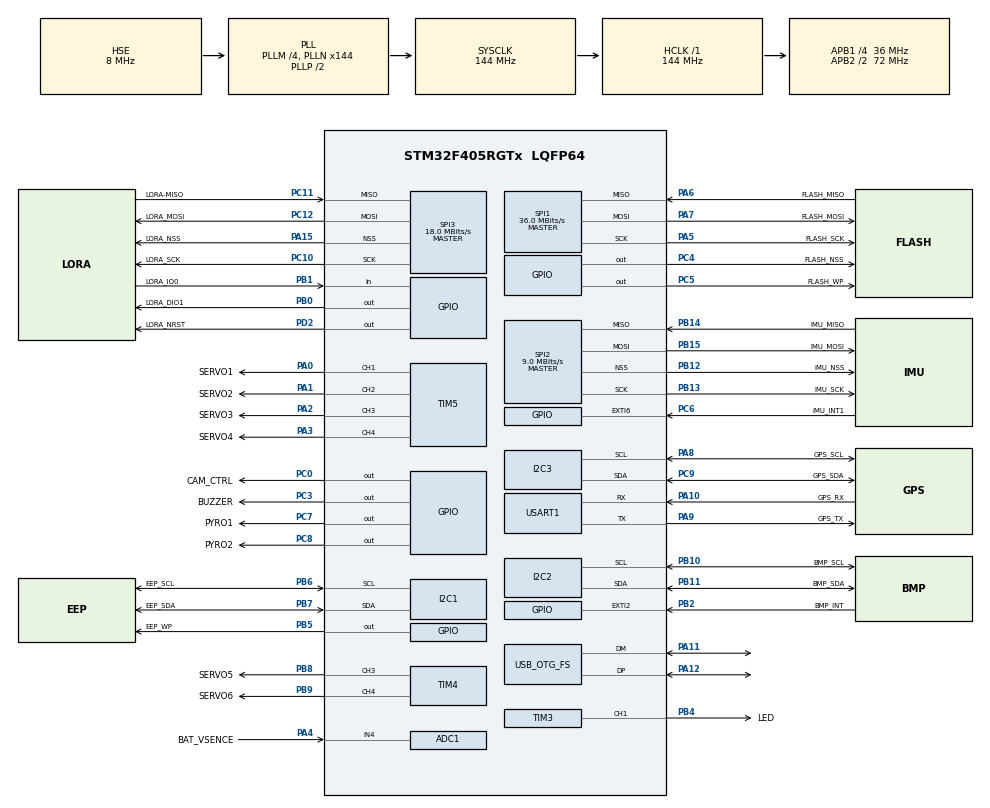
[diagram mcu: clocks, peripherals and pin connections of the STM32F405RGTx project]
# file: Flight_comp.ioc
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ADC1.Channel-0\#ChannelRegularConversion=ADC_CHANNEL_4
ADC1.NbrOfConversionFlag=1
ADC1.Rank-0\#ChannelRegularConversion=1
ADC1.SamplingTime-0\#ChannelRegularConversion=ADC_SAMPLETIME_3CYCLES
ADC1.master=1
Dma.Request0=TIM3_CH1/TRIG
Dma.TIM3_CH1/TRIG.0.Direction=DMA_MEMORY_TO_PERIPH
Dma.TIM3_CH1/TRIG.0.FIFOMode=DMA_FIFOMODE_DISABLE
Dma.TIM3_CH1/TRIG.0.Instance=DMA1_Stream4
Dma.TIM3_CH1/TRIG.0.MemDataAlignment=DMA_MDATAALIGN_WORD
Dma.TIM3_CH1/TRIG.0.MemInc=DMA_MINC_ENABLE
Dma.TIM3_CH1/TRIG.0.Mode=DMA_NORMAL
Dma.TIM3_CH1/TRIG.0.PeriphDataAlignment=DMA_PDATAALIGN_WORD
Dma.TIM3_CH1/TRIG.0.PeriphInc=DMA_PINC_DISABLE
Dma.TIM3_CH1/TRIG.0.Priority=DMA_PRIORITY_VERY_HIGH
I2C1.I2C_Mode=I2C_Fast
I2C2.I2C_Mode=I2C_Fast
Mcu.Family=STM32F4
Mcu.Name=STM32F405RGTx
Mcu.Package=LQFP64
NVIC.DMA1_Stream4_IRQn=true\:0\:0\:false\:false\:true\:false\:true\:true
NVIC.OTG_FS_IRQn=true\:0\:0\:false\:false\:true\:false\:true\:true
NVIC.PriorityGroup=NVIC_PRIORITYGROUP_4
PA0-WKUP.GPIO_Label=SERVO1
PA0-WKUP.Signal=S_TIM5_CH1
PA1.GPIO_Label=SERVO2
PA1.Signal=S_TIM5_CH2
PA10.GPIO_Label=GPS_RX
PA10.Mode=Asynchronous
PA10.Signal=USART1_RX
PA11.Mode=Device_Only
PA11.Signal=USB_OTG_FS_DM
PA12.Mode=Device_Only
PA12.Signal=USB_OTG_FS_DP
PA13.Mode=Trace_Asynchronous_SW
PA13.Signal=SYS_JTMS-SWDIO
PA14.Mode=Trace_Asynchronous_SW
PA14.Signal=SYS_JTCK-SWCLK
PA15.GPIO_Label=LORA_NSS
PA15.Mode=NSS_Signal_Hard_Output
PA15.Signal=SPI3_NSS
PA2.GPIO_Label=SERVO3
PA2.Signal=S_TIM5_CH3
PA3.GPIO_Label=SERVO4
PA3.Signal=S_TIM5_CH4
PA4.GPIO_Label=BAT_VSENCE
PA4.Signal=ADCx_IN4
PA5.GPIO_Label=FLASH_SCK
PA5.Mode=Full_Duplex_Master
PA5.Signal=SPI1_SCK
PA6.GPIO_Label=FLASH_MISO
PA6.Mode=Full_Duplex_Master
PA6.Signal=SPI1_MISO
PA7.GPIO_Label=FLASH_MOSI
PA7.Mode=Full_Duplex_Master
PA7.Signal=SPI1_MOSI
PA8.GPIO_Label=GPS_SCL
PA8.GPIO_Pu=GPIO_PULLUP
PA8.Mode=I2C
PA8.Signal=I2C3_SCL
PA9.GPIO_Label=GPS_TX
PA9.Mode=Asynchronous
PA9.Signal=USART1_TX
PB0.GPIO_Label=LORA_DIO1
PB0.Signal=GPIO_Output
PB1.GPIO_Label=LORA_IO0
PB1.Signal=GPIO_Input
PB10.GPIO_Label=BMP_SCL
PB10.GPIO_Pu=GPIO_PULLUP
PB10.Mode=I2C
PB10.Signal=I2C2_SCL
PB11.GPIO_Label=BMP_SDA
PB11.GPIO_Pu=GPIO_PULLUP
PB11.Mode=I2C
PB11.Signal=I2C2_SDA
PB12.GPIO_Label=IMU_NSS
PB12.Mode=NSS_Signal_Hard_Output
PB12.Signal=SPI2_NSS
PB13.GPIO_Label=IMU_SCK
PB13.Mode=Full_Duplex_Master
PB13.Signal=SPI2_SCK
PB14.GPIO_Label=IMU_MISO
PB14.Mode=Full_Duplex_Master
PB14.Signal=SPI2_MISO
PB15.GPIO_Label=IMU_MOSI
PB15.Mode=Full_Duplex_Master
PB15.Signal=SPI2_MOSI
PB2.GPIO_Label=BMP_INT
PB2.Signal=GPXTI2
PB3.Mode=Trace_Asynchronous_SW
PB3.Signal=SYS_JTDO-SWO
PB4.GPIO_Label=LED
PB4.Signal=S_TIM3_CH1
PB5.GPIO_Label=EEP_WP
PB5.Signal=GPIO_Output
PB6.GPIO_Label=EEP_SCL
PB6.GPIO_Pu=GPIO_PULLUP
PB6.Mode=I2C
PB6.Signal=I2C1_SCL
PB7.GPIO_Label=EEP_SDA
PB7.GPIO_Pu=GPIO_PULLUP
PB7.Mode=I2C
PB7.Signal=I2C1_SDA
PB8.GPIO_Label=SERVO5
PB8.Signal=S_TIM4_CH3
PB9.GPIO_Label=SERVO6
PB9.Signal=S_TIM4_CH4
PC0.GPIO_Label=CAM_CTRL
PC0.Signal=GPIO_Output
PC10.GPIO_Label=LORA_SCK
PC10.Mode=Full_Duplex_Master
PC10.Signal=SPI3_SCK
PC11.GPIO_Label=LORA-MISO
PC11.Mode=Full_Duplex_Master
PC11.Signal=SPI3_MISO
PC12.GPIO_Label=LORA_MOSI
PC12.Mode=Full_Duplex_Master
PC12.Signal=SPI3_MOSI
PC14-OSC32_IN.Mode=LSE-External-Oscillator
PC14-OSC32_IN.Signal=RCC_OSC32_IN
PC15-OSC32_OUT.Mode=LSE-External-Oscillator
PC15-OSC32_OUT.Signal=RCC_OSC32_OUT
PC3.GPIO_Label=BUZZER
PC3.Signal=GPIO_Output
PC4.GPIO_Label=FLASH_NSS
PC4.GPIO_Speed=GPIO_SPEED_FREQ_VERY_HIGH
PC4.PinState=GPIO_PIN_SET
PC4.Signal=GPIO_Output
PC5.GPIO_Label=FLASH_WP
PC5.GPIO_Speed=GPIO_SPEED_FREQ_VERY_HIGH
PC5.PinState=GPIO_PIN_SET
PC5.Signal=GPIO_Output
PC6.GPIO_Label=IMU_INT1
PC6.Signal=GPXTI6
PC7.GPIO_Label=PYRO1
PC7.Signal=GPIO_Output
PC8.GPIO_Label=PYRO2
PC8.Signal=GPIO_Output
PC9.GPIO_Label=GPS_SDA
PC9.GPIO_Pu=GPIO_PULLUP
PC9.Mode=I2C
PC9.Signal=I2C3_SDA
PD2.GPIO_Label=LORA_NRST
PD2.Signal=GPIO_Output
PH0-OSC_IN.Mode=HSE-External-Oscillator
PH0-OSC_IN.Signal=RCC_OSC_IN
PH1-OSC_OUT.Mode=HSE-External-Oscillator
PH1-OSC_OUT.Signal=RCC_OSC_OUT
ProjectManager.HeapSize=0x200
ProjectManager.StackSize=0x400
ProjectManager.TargetToolchain=Makefile
RCC.48MHZClocksFreq_Value=48000000
RCC.AHBFreq_Value=144000000
RCC.APB1CLKDivider=RCC_HCLK_DIV4
RCC.APB1Freq_Value=36000000
RCC.APB1TimFreq_Value=72000000
RCC.APB2CLKDivider=RCC_HCLK_DIV2
RCC.APB2Freq_Value=72000000
RCC.APB2TimFreq_Value=144000000
RCC.CortexFreq_Value=144000000
RCC.HCLKFreq_Value=144000000
RCC.HSE_VALUE=8000000
RCC.HSI_VALUE=16000000
RCC.PLLM=4
RCC.PLLN=144
RCC.PLLQ=6
RCC.SYSCLKFreq_VALUE=144000000
RCC.SYSCLKSource=RCC_SYSCLKSOURCE_PLLCLK
RCC.VCOOutputFreq_Value=288000000
SH.ADCx_IN4.0=ADC1_IN4,IN4
SH.S_TIM3_CH1.0=TIM3_CH1,PWM Generation1 CH1
SH.S_TIM4_CH3.0=TIM4_CH3,PWM Generation3 CH3
SH.S_TIM4_CH4.0=TIM4_CH4,PWM Generation4 CH4
SH.S_TIM5_CH1.0=TIM5_CH1,PWM Generation1 CH1
SH.S_TIM5_CH2.0=TIM5_CH2,PWM Generation2 CH2
SH.S_TIM5_CH3.0=TIM5_CH3,PWM Generation3 CH3
SH.S_TIM5_CH4.0=TIM5_CH4,Output Compare4 CH4
SPI1.CalculateBaudRate=36.0 MBits/s
SPI1.Direction=SPI_DIRECTION_2LINES
SPI1.Mode=SPI_MODE_MASTER
SPI1.VirtualType=VM_MASTER
SPI2.BaudRatePrescaler=SPI_BAUDRATEPRESCALER_4
SPI2.CalculateBaudRate=9.0 MBits/s
SPI2.Direction=SPI_DIRECTION_2LINES
SPI2.Mode=SPI_MODE_MASTER
SPI2.VirtualNSS=VM_NSSHARD
SPI2.VirtualType=VM_MASTER
SPI3.CalculateBaudRate=18.0 MBits/s
SPI3.Direction=SPI_DIRECTION_2LINES
SPI3.Mode=SPI_MODE_MASTER
SPI3.VirtualNSS=VM_NSSHARD
SPI3.VirtualType=VM_MASTER
TIM3.Channel-PWM\ Generation1\ CH1=TIM_CHANNEL_1
TIM3.Period=90-1
TIM4.Channel-PWM\ Generation3\ CH3=TIM_CHANNEL_3
TIM4.Channel-PWM\ Generation4\ CH4=TIM_CHANNEL_4
TIM5.Channel-Output\ Compare4\ CH4=TIM_CHANNEL_4
TIM5.Channel-PWM\ Generation1\ CH1=TIM_CHANNEL_1
TIM5.Channel-PWM\ Generation2\ CH2=TIM_CHANNEL_2
TIM5.Channel-PWM\ Generation3\ CH3=TIM_CHANNEL_3
USART1.VirtualMode=VM_ASYNC
USB_DEVICE.CLASS_NAME_FS=MSC
USB_DEVICE.VirtualMode-MSC_FS=Msc
USB_DEVICE.VirtualModeFS=Msc_FS
USB_OTG_FS.VirtualMode=Device_Only
VP_CRC_VS_CRC.Mode=CRC_Activate
VP_RTC_VS_RTC_Activate.Mode=RTC_Enabled
VP_TIM3_VS_ClockSourceINT.Mode=Internal
VP_TIM4_VS_ClockSourceINT.Mode=Internal
VP_TIM5_VS_ClockSourceINT.Mode=Internal
VP_USB_DEVICE_VS_USB_DEVICE_MSC_FS.Mode=MSC_FS
board=custom

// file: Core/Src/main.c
/* USER CODE BEGIN Header */
/**
  ******************************************************************************
  * @file           : main.c
  * @brief          : Main program body
  ******************************************************************************
  * @attention
  *
  * Copyright (c) 2026 STMicroelectronics.
  * All rights reserved.
  *
  * This software is licensed under terms that can be found in the LICENSE file
  * in the root directory of this software component.
  * If no LICENSE file comes with this software, it is provided AS-IS.
  *
  ******************************************************************************
  */
/* USER CODE END Header */
#include "main.h"
#include "usb_device.h"

/* USER CODE BEGIN Includes */
#include "25flash.h"
#include "neopixel.h"
#include "buzzer.h"
#include "lsm6dso.h"
#include "BMP388.h"
#include "ee24.h"
#include "servo.h"
#include "GNSS.h"
#include "SX1262.h"
/* USER CODE END Includes */

/* USER CODE BEGIN PD */
#define VBAT_DIV_K  2.54

#define LSM6DSO_I2C_ADDR (0x6A << 1)
/* USER CODE END PD */

ADC_HandleTypeDef hadc1;

CRC_HandleTypeDef hcrc;

I2C_HandleTypeDef hi2c1;
I2C_HandleTypeDef hi2c2;
I2C_HandleTypeDef hi2c3;

RTC_HandleTypeDef hrtc;

SPI_HandleTypeDef hspi1;
SPI_HandleTypeDef hspi2;
SPI_HandleTypeDef hspi3;

TIM_HandleTypeDef htim3;
TIM_HandleTypeDef htim4;
TIM_HandleTypeDef htim5;
DMA_HandleTypeDef hdma_tim3_ch1_trig;

UART_HandleTypeDef huart1;

/* USER CODE BEGIN PV */
LSM6DSO_Object_t lsm6dso1;

float battery_v;
uint32_t adc_buff[1];
/* USER CODE END PV */

void SystemClock_Config(void);
static void MX_GPIO_Init(void);
static void MX_DMA_Init(void);
static void MX_ADC1_Init(void);
static void MX_I2C1_Init(void);
static void MX_I2C2_Init(void);
static void MX_I2C3_Init(void);
static void MX_RTC_Init(void);
static void MX_SPI1_Init(void);
static void MX_SPI2_Init(void);
static void MX_SPI3_Init(void);
static void MX_TIM3_Init(void);
static void MX_TIM4_Init(void);
static void MX_TIM5_Init(void);
static void MX_USART1_UART_Init(void);
static void MX_CRC_Init(void);

int main(void)
{

  /* MCU Configuration--------------------------------------------------------*/

  /* Reset of all peripherals, Initializes the Flash interface and the Systick. */
  HAL_Init();

  /* Configure the system clock */
  SystemClock_Config();

  /* Initialize all configured peripherals */
  MX_GPIO_Init();
  MX_DMA_Init();
  MX_ADC1_Init();
  MX_I2C1_Init();
  MX_I2C2_Init();
  MX_I2C3_Init();
  MX_RTC_Init();
  MX_SPI1_Init();
  MX_SPI2_Init();
  MX_SPI3_Init();
  MX_TIM3_Init();
  MX_TIM4_Init();
  MX_TIM5_Init();
  MX_USART1_UART_Init();
  MX_USB_DEVICE_Init();
  MX_CRC_Init();
  /* USER CODE BEGIN 2 */
  LSM6DSO_Init(&lsm6dso1);
  /* USER CODE END 2 */

  /* Infinite loop */
  while (1)
  {

  }
}

void SystemClock_Config(void)
{
  RCC_OscInitTypeDef RCC_OscInitStruct = {0};
  RCC_ClkInitTypeDef RCC_ClkInitStruct = {0};

  /** Configure the main internal regulator output voltage
  */
  __HAL_RCC_PWR_CLK_ENABLE();
  __HAL_PWR_VOLTAGESCALING_CONFIG(PWR_REGULATOR_VOLTAGE_SCALE1);

  /** Initializes the RCC Oscillators according to the specified parameters
  * in the RCC_OscInitTypeDef structure.
  */
  RCC_OscInitStruct.OscillatorType = RCC_OSCILLATORTYPE_LSI|RCC_OSCILLATORTYPE_HSE;
  RCC_OscInitStruct.HSEState = RCC_HSE_ON;
  RCC_OscInitStruct.LSIState = RCC_LSI_ON;
  RCC_OscInitStruct.PLL.PLLState = RCC_PLL_ON;
  RCC_OscInitStruct.PLL.PLLSource = RCC_PLLSOURCE_HSE;
  RCC_OscInitStruct.PLL.PLLM = 4;
  RCC_OscInitStruct.PLL.PLLN = 144;
  RCC_OscInitStruct.PLL.PLLP = RCC_PLLP_DIV2;
  RCC_OscInitStruct.PLL.PLLQ = 6;
  if (HAL_RCC_OscConfig(&RCC_OscInitStruct) != HAL_OK)
  {
    Error_Handler();
  }

  /** Initializes the CPU, AHB and APB buses clocks
  */
  RCC_ClkInitStruct.ClockType = RCC_CLOCKTYPE_HCLK|RCC_CLOCKTYPE_SYSCLK
                              |RCC_CLOCKTYPE_PCLK1|RCC_CLOCKTYPE_PCLK2;
  RCC_ClkInitStruct.SYSCLKSource = RCC_SYSCLKSOURCE_PLLCLK;
  RCC_ClkInitStruct.AHBCLKDivider = RCC_SYSCLK_DIV1;
  RCC_ClkInitStruct.APB1CLKDivider = RCC_HCLK_DIV4;
  RCC_ClkInitStruct.APB2CLKDivider = RCC_HCLK_DIV2;

  if (HAL_RCC_ClockConfig(&RCC_ClkInitStruct, FLASH_LATENCY_4) != HAL_OK)
  {
    Error_Handler();
  }
}

static void MX_ADC1_Init(void)
{

  ADC_ChannelConfTypeDef sConfig = {0};

  /** Configure the global features of the ADC (Clock, Resolution, Data Alignment and number of conversion)
  */
  hadc1.Instance = ADC1;
  hadc1.Init.ClockPrescaler = ADC_CLOCK_SYNC_PCLK_DIV2;
  hadc1.Init.Resolution = ADC_RESOLUTION_12B;
  hadc1.Init.ScanConvMode = DISABLE;
  hadc1.Init.ContinuousConvMode = DISABLE;
  hadc1.Init.DiscontinuousConvMode = DISABLE;
  hadc1.Init.ExternalTrigConvEdge = ADC_EXTERNALTRIGCONVEDGE_NONE;
  hadc1.Init.ExternalTrigConv = ADC_SOFTWARE_START;
  hadc1.Init.DataAlign = ADC_DATAALIGN_RIGHT;
  hadc1.Init.NbrOfConversion = 1;
  hadc1.Init.DMAContinuousRequests = DISABLE;
  hadc1.Init.EOCSelection = ADC_EOC_SINGLE_CONV;
  if (HAL_ADC_Init(&hadc1) != HAL_OK)
  {
    Error_Handler();
  }

  /** Configure for the selected ADC regular channel its corresponding rank in the sequencer and its sample time.
  */
  sConfig.Channel = ADC_CHANNEL_4;
  sConfig.Rank = 1;
  sConfig.SamplingTime = ADC_SAMPLETIME_3CYCLES;
  if (HAL_ADC_ConfigChannel(&hadc1, &sConfig) != HAL_OK)
  {
    Error_Handler();
  }

}

static void MX_CRC_Init(void)
{

  hcrc.Instance = CRC;
  if (HAL_CRC_Init(&hcrc) != HAL_OK)
  {
    Error_Handler();
  }

}

static void MX_I2C1_Init(void)
{

  hi2c1.Instance = I2C1;
  hi2c1.Init.ClockSpeed = 400000;
  hi2c1.Init.DutyCycle = I2C_DUTYCYCLE_2;
  hi2c1.Init.OwnAddress1 = 0;
  hi2c1.Init.AddressingMode = I2C_ADDRESSINGMODE_7BIT;
  hi2c1.Init.DualAddressMode = I2C_DUALADDRESS_DISABLE;
  hi2c1.Init.OwnAddress2 = 0;
  hi2c1.Init.GeneralCallMode = I2C_GENERALCALL_DISABLE;
  hi2c1.Init.NoStretchMode = I2C_NOSTRETCH_DISABLE;
  if (HAL_I2C_Init(&hi2c1) != HAL_OK)
  {
    Error_Handler();
  }

}

static void MX_I2C2_Init(void)
{

  hi2c2.Instance = I2C2;
  hi2c2.Init.ClockSpeed = 400000;
  hi2c2.Init.DutyCycle = I2C_DUTYCYCLE_2;
  hi2c2.Init.OwnAddress1 = 0;
  hi2c2.Init.AddressingMode = I2C_ADDRESSINGMODE_7BIT;
  hi2c2.Init.DualAddressMode = I2C_DUALADDRESS_DISABLE;
  hi2c2.Init.OwnAddress2 = 0;
  hi2c2.Init.GeneralCallMode = I2C_GENERALCALL_DISABLE;
  hi2c2.Init.NoStretchMode = I2C_NOSTRETCH_DISABLE;
  if (HAL_I2C_Init(&hi2c2) != HAL_OK)
  {
    Error_Handler();
  }

}

static void MX_I2C3_Init(void)
{

  hi2c3.Instance = I2C3;
  hi2c3.Init.ClockSpeed = 100000;
  hi2c3.Init.DutyCycle = I2C_DUTYCYCLE_2;
  hi2c3.Init.OwnAddress1 = 0;
  hi2c3.Init.AddressingMode = I2C_ADDRESSINGMODE_7BIT;
  hi2c3.Init.DualAddressMode = I2C_DUALADDRESS_DISABLE;
  hi2c3.Init.OwnAddress2 = 0;
  hi2c3.Init.GeneralCallMode = I2C_GENERALCALL_DISABLE;
  hi2c3.Init.NoStretchMode = I2C_NOSTRETCH_DISABLE;
  if (HAL_I2C_Init(&hi2c3) != HAL_OK)
  {
    Error_Handler();
  }

}

static void MX_RTC_Init(void)
{

  /** Initialize RTC Only
  */
  hrtc.Instance = RTC;
  hrtc.Init.HourFormat = RTC_HOURFORMAT_24;
  hrtc.Init.AsynchPrediv = 127;
  hrtc.Init.SynchPrediv = 255;
  hrtc.Init.OutPut = RTC_OUTPUT_DISABLE;
  hrtc.Init.OutPutPolarity = RTC_OUTPUT_POLARITY_HIGH;
  hrtc.Init.OutPutType = RTC_OUTPUT_TYPE_OPENDRAIN;
  if (HAL_RTC_Init(&hrtc) != HAL_OK)
  {
    Error_Handler();
  }

}

static void MX_SPI1_Init(void)
{

  /* SPI1 parameter configuration*/
  hspi1.Instance = SPI1;
  hspi1.Init.Mode = SPI_MODE_MASTER;
  hspi1.Init.Direction = SPI_DIRECTION_2LINES;
  hspi1.Init.DataSize = SPI_DATASIZE_8BIT;
  hspi1.Init.CLKPolarity = SPI_POLARITY_LOW;
  hspi1.Init.CLKPhase = SPI_PHASE_1EDGE;
  hspi1.Init.NSS = SPI_NSS_SOFT;
  hspi1.Init.BaudRatePrescaler = SPI_BAUDRATEPRESCALER_2;
  hspi1.Init.FirstBit = SPI_FIRSTBIT_MSB;
  hspi1.Init.TIMode = SPI_TIMODE_DISABLE;
  hspi1.Init.CRCCalculation = SPI_CRCCALCULATION_DISABLE;
  hspi1.Init.CRCPolynomial = 10;
  if (HAL_SPI_Init(&hspi1) != HAL_OK)
  {
    Error_Handler();
  }

}

static void MX_SPI2_Init(void)
{

  /* SPI2 parameter configuration*/
  hspi2.Instance = SPI2;
  hspi2.Init.Mode = SPI_MODE_MASTER;
  hspi2.Init.Direction = SPI_DIRECTION_2LINES;
  hspi2.Init.DataSize = SPI_DATASIZE_8BIT;
  hspi2.Init.CLKPolarity = SPI_POLARITY_LOW;
  hspi2.Init.CLKPhase = SPI_PHASE_1EDGE;
  hspi2.Init.NSS = SPI_NSS_HARD_OUTPUT;
  hspi2.Init.BaudRatePrescaler = SPI_BAUDRATEPRESCALER_4;
  hspi2.Init.FirstBit = SPI_FIRSTBIT_MSB;
  hspi2.Init.TIMode = SPI_TIMODE_DISABLE;
  hspi2.Init.CRCCalculation = SPI_CRCCALCULATION_DISABLE;
  hspi2.Init.CRCPolynomial = 10;
  if (HAL_SPI_Init(&hspi2) != HAL_OK)
  {
    Error_Handler();
  }

}

static void MX_SPI3_Init(void)
{

  /* SPI3 parameter configuration*/
  hspi3.Instance = SPI3;
  hspi3.Init.Mode = SPI_MODE_MASTER;
  hspi3.Init.Direction = SPI_DIRECTION_2LINES;
  hspi3.Init.DataSize = SPI_DATASIZE_8BIT;
  hspi3.Init.CLKPolarity = SPI_POLARITY_LOW;
  hspi3.Init.CLKPhase = SPI_PHASE_1EDGE;
  hspi3.Init.NSS = SPI_NSS_HARD_OUTPUT;
  hspi3.Init.BaudRatePrescaler = SPI_BAUDRATEPRESCALER_2;
  hspi3.Init.FirstBit = SPI_FIRSTBIT_MSB;
  hspi3.Init.TIMode = SPI_TIMODE_DISABLE;
  hspi3.Init.CRCCalculation = SPI_CRCCALCULATION_DISABLE;
  hspi3.Init.CRCPolynomial = 10;
  if (HAL_SPI_Init(&hspi3) != HAL_OK)
  {
    Error_Handler();
  }

}

static void MX_TIM3_Init(void)
{

  TIM_ClockConfigTypeDef sClockSourceConfig = {0};
  TIM_MasterConfigTypeDef sMasterConfig = {0};
  TIM_OC_InitTypeDef sConfigOC = {0};

  htim3.Instance = TIM3;
  htim3.Init.Prescaler = 0;
  htim3.Init.CounterMode = TIM_COUNTERMODE_UP;
  htim3.Init.Period = 90-1;
  htim3.Init.ClockDivision = TIM_CLOCKDIVISION_DIV1;
  htim3.Init.AutoReloadPreload = TIM_AUTORELOAD_PRELOAD_DISABLE;
  if (HAL_TIM_Base_Init(&htim3) != HAL_OK)
  {
    Error_Handler();
  }
  sClockSourceConfig.ClockSource = TIM_CLOCKSOURCE_INTERNAL;
  if (HAL_TIM_ConfigClockSource(&htim3, &sClockSourceConfig) != HAL_OK)
  {
    Error_Handler();
  }
  if (HAL_TIM_PWM_Init(&htim3) != HAL_OK)
  {
    Error_Handler();
  }
  sMasterConfig.MasterOutputTrigger = TIM_TRGO_RESET;
  sMasterConfig.MasterSlaveMode = TIM_MASTERSLAVEMODE_DISABLE;
  if (HAL_TIMEx_MasterConfigSynchronization(&htim3, &sMasterConfig) != HAL_OK)
  {
    Error_Handler();
  }
  sConfigOC.OCMode = TIM_OCMODE_PWM1;
  sConfigOC.Pulse = 0;
  sConfigOC.OCPolarity = TIM_OCPOLARITY_HIGH;
  sConfigOC.OCFastMode = TIM_OCFAST_DISABLE;
  if (HAL_TIM_PWM_ConfigChannel(&htim3, &sConfigOC, TIM_CHANNEL_1) != HAL_OK)
  {
    Error_Handler();
  }
  HAL_TIM_MspPostInit(&htim3);

}

static void MX_TIM4_Init(void)
{

  TIM_ClockConfigTypeDef sClockSourceConfig = {0};
  TIM_MasterConfigTypeDef sMasterConfig = {0};
  TIM_OC_InitTypeDef sConfigOC = {0};

  htim4.Instance = TIM4;
  htim4.Init.Prescaler = 0;
  htim4.Init.CounterMode = TIM_COUNTERMODE_UP;
  htim4.Init.Period = 65535;
  htim4.Init.ClockDivision = TIM_CLOCKDIVISION_DIV1;
  htim4.Init.AutoReloadPreload = TIM_AUTORELOAD_PRELOAD_DISABLE;
  if (HAL_TIM_Base_Init(&htim4) != HAL_OK)
  {
    Error_Handler();
  }
  sClockSourceConfig.ClockSource = TIM_CLOCKSOURCE_INTERNAL;
  if (HAL_TIM_ConfigClockSource(&htim4, &sClockSourceConfig) != HAL_OK)
  {
    Error_Handler();
  }
  if (HAL_TIM_PWM_Init(&htim4) != HAL_OK)
  {
    Error_Handler();
  }
  sMasterConfig.MasterOutputTrigger = TIM_TRGO_RESET;
  sMasterConfig.MasterSlaveMode = TIM_MASTERSLAVEMODE_DISABLE;
  if (HAL_TIMEx_MasterConfigSynchronization(&htim4, &sMasterConfig) != HAL_OK)
  {
    Error_Handler();
  }
  sConfigOC.OCMode = TIM_OCMODE_PWM1;
  sConfigOC.Pulse = 0;
  sConfigOC.OCPolarity = TIM_OCPOLARITY_HIGH;
  sConfigOC.OCFastMode = TIM_OCFAST_DISABLE;
  if (HAL_TIM_PWM_ConfigChannel(&htim4, &sConfigOC, TIM_CHANNEL_3) != HAL_OK)
  {
    Error_Handler();
  }
  if (HAL_TIM_PWM_ConfigChannel(&htim4, &sConfigOC, TIM_CHANNEL_4) != HAL_OK)
  {
    Error_Handler();
  }
  HAL_TIM_MspPostInit(&htim4);

}

static void MX_TIM5_Init(void)
{

  TIM_ClockConfigTypeDef sClockSourceConfig = {0};
  TIM_MasterConfigTypeDef sMasterConfig = {0};
  TIM_OC_InitTypeDef sConfigOC = {0};

  htim5.Instance = TIM5;
  htim5.Init.Prescaler = 0;
  htim5.Init.CounterMode = TIM_COUNTERMODE_UP;
  htim5.Init.Period = 4294967295;
  htim5.Init.ClockDivision = TIM_CLOCKDIVISION_DIV1;
  htim5.Init.AutoReloadPreload = TIM_AUTORELOAD_PRELOAD_DISABLE;
  if (HAL_TIM_Base_Init(&htim5) != HAL_OK)
  {
    Error_Handler();
  }
  sClockSourceConfig.ClockSource = TIM_CLOCKSOURCE_INTERNAL;
  if (HAL_TIM_ConfigClockSource(&htim5, &sClockSourceConfig) != HAL_OK)
  {
    Error_Handler();
  }
  if (HAL_TIM_PWM_Init(&htim5) != HAL_OK)
  {
    Error_Handler();
  }
  if (HAL_TIM_OC_Init(&htim5) != HAL_OK)
  {
    Error_Handler();
  }
  sMasterConfig.MasterOutputTrigger = TIM_TRGO_RESET;
  sMasterConfig.MasterSlaveMode = TIM_MASTERSLAVEMODE_DISABLE;
  if (HAL_TIMEx_MasterConfigSynchronization(&htim5, &sMasterConfig) != HAL_OK)
  {
    Error_Handler();
  }
  sConfigOC.OCMode = TIM_OCMODE_PWM1;
  sConfigOC.Pulse = 0;
  sConfigOC.OCPolarity = TIM_OCPOLARITY_HIGH;
  sConfigOC.OCFastMode = TIM_OCFAST_DISABLE;
  if (HAL_TIM_PWM_ConfigChannel(&htim5, &sConfigOC, TIM_CHANNEL_1) != HAL_OK)
  {
    Error_Handler();
  }
  if (HAL_TIM_PWM_ConfigChannel(&htim5, &sConfigOC, TIM_CHANNEL_2) != HAL_OK)
  {
    Error_Handler();
  }
  if (HAL_TIM_PWM_ConfigChannel(&htim5, &sConfigOC, TIM_CHANNEL_3) != HAL_OK)
  {
    Error_Handler();
  }
  sConfigOC.OCMode = TIM_OCMODE_TIMING;
  if (HAL_TIM_OC_ConfigChannel(&htim5, &sConfigOC, TIM_CHANNEL_4) != HAL_OK)
  {
    Error_Handler();
  }
  HAL_TIM_MspPostInit(&htim5);

}

static void MX_USART1_UART_Init(void)
{

  huart1.Instance = USART1;
  huart1.Init.BaudRate = 115200;
  huart1.Init.WordLength = UART_WORDLENGTH_8B;
  huart1.Init.StopBits = UART_STOPBITS_1;
  huart1.Init.Parity = UART_PARITY_NONE;
  huart1.Init.Mode = UART_MODE_TX_RX;
  huart1.Init.HwFlowCtl = UART_HWCONTROL_NONE;
  huart1.Init.OverSampling = UART_OVERSAMPLING_16;
  if (HAL_UART_Init(&huart1) != HAL_OK)
  {
    Error_Handler();
  }

}

static void MX_DMA_Init(void)
{

  /* DMA controller clock enable */
  __HAL_RCC_DMA1_CLK_ENABLE();

  /* DMA interrupt init */
  /* DMA1_Stream4_IRQn interrupt configuration */
  HAL_NVIC_SetPriority(DMA1_Stream4_IRQn, 0, 0);
  HAL_NVIC_EnableIRQ(DMA1_Stream4_IRQn);

}

static void MX_GPIO_Init(void)
{
  GPIO_InitTypeDef GPIO_InitStruct = {0};

  /* GPIO Ports Clock Enable */
  __HAL_RCC_GPIOC_CLK_ENABLE();
  __HAL_RCC_GPIOH_CLK_ENABLE();
  __HAL_RCC_GPIOA_CLK_ENABLE();
  __HAL_RCC_GPIOB_CLK_ENABLE();
  __HAL_RCC_GPIOD_CLK_ENABLE();

  /*Configure GPIO pin Output Level */
  HAL_GPIO_WritePin(GPIOC, CAM_CTRL_Pin|BUZZER_Pin|PYRO1_Pin|PYRO2_Pin, GPIO_PIN_RESET);

  /*Configure GPIO pin Output Level */
  HAL_GPIO_WritePin(GPIOC, FLASH_NSS_Pin|FLASH_WP_Pin, GPIO_PIN_SET);

  /*Configure GPIO pin Output Level */
  HAL_GPIO_WritePin(GPIOB, LORA_DIO1_Pin|EEP_WP_Pin, GPIO_PIN_RESET);

  /*Configure GPIO pin Output Level */
  HAL_GPIO_WritePin(LORA_NRST_GPIO_Port, LORA_NRST_Pin, GPIO_PIN_RESET);

  /*Configure GPIO pins : CAM_CTRL_Pin BUZZER_Pin PYRO1_Pin PYRO2_Pin */
  GPIO_InitStruct.Pin = CAM_CTRL_Pin|BUZZER_Pin|PYRO1_Pin|PYRO2_Pin;
  GPIO_InitStruct.Mode = GPIO_MODE_OUTPUT_PP;
  GPIO_InitStruct.Pull = GPIO_NOPULL;
  GPIO_InitStruct.Speed = GPIO_SPEED_FREQ_LOW;
  HAL_GPIO_Init(GPIOC, &GPIO_InitStruct);

  /*Configure GPIO pins : FLASH_NSS_Pin FLASH_WP_Pin */
  GPIO_InitStruct.Pin = FLASH_NSS_Pin|FLASH_WP_Pin;
  GPIO_InitStruct.Mode = GPIO_MODE_OUTPUT_PP;
  GPIO_InitStruct.Pull = GPIO_NOPULL;
  GPIO_InitStruct.Speed = GPIO_SPEED_FREQ_VERY_HIGH;
  HAL_GPIO_Init(GPIOC, &GPIO_InitStruct);

  /*Configure GPIO pins : LORA_DIO1_Pin EEP_WP_Pin */
  GPIO_InitStruct.Pin = LORA_DIO1_Pin|EEP_WP_Pin;
  GPIO_InitStruct.Mode = GPIO_MODE_OUTPUT_PP;
  GPIO_InitStruct.Pull = GPIO_NOPULL;
  GPIO_InitStruct.Speed = GPIO_SPEED_FREQ_LOW;
  HAL_GPIO_Init(GPIOB, &GPIO_InitStruct);

  /*Configure GPIO pin : LORA_IO0_Pin */
  GPIO_InitStruct.Pin = LORA_IO0_Pin;
  GPIO_InitStruct.Mode = GPIO_MODE_INPUT;
  GPIO_InitStruct.Pull = GPIO_NOPULL;
  HAL_GPIO_Init(LORA_IO0_GPIO_Port, &GPIO_InitStruct);

  /*Configure GPIO pin : BMP_INT_Pin */
  GPIO_InitStruct.Pin = BMP_INT_Pin;
  GPIO_InitStruct.Mode = GPIO_MODE_IT_RISING;
  GPIO_InitStruct.Pull = GPIO_NOPULL;
  HAL_GPIO_Init(BMP_INT_GPIO_Port, &GPIO_InitStruct);

  /*Configure GPIO pin : IMU_INT1_Pin */
  GPIO_InitStruct.Pin = IMU_INT1_Pin;
  GPIO_InitStruct.Mode = GPIO_MODE_IT_RISING;
  GPIO_InitStruct.Pull = GPIO_NOPULL;
  HAL_GPIO_Init(IMU_INT1_GPIO_Port, &GPIO_InitStruct);

  /*Configure GPIO pin : LORA_NRST_Pin */
  GPIO_InitStruct.Pin = LORA_NRST_Pin;
  GPIO_InitStruct.Mode = GPIO_MODE_OUTPUT_PP;
  GPIO_InitStruct.Pull = GPIO_NOPULL;
  GPIO_InitStruct.Speed = GPIO_SPEED_FREQ_LOW;
  HAL_GPIO_Init(LORA_NRST_GPIO_Port, &GPIO_InitStruct);

}

/* USER CODE BEGIN 4 */
void Get_Vbat(){
  HAL_ADC_Start_DMA(&hadc1, adc_buff, 1);
}

void HAL_ADC_ConvCpltCallback(ADC_HandleTypeDef *hadc)
{
  if(hadc->Instance == ADC1){
    battery_v = (adc_buff[1] * 3.3 / 4095)*VBAT_DIV_K;
  }
}

int32_t platform_write(void *handle, uint8_t reg, const uint8_t *bufp, uint16_t len)
{
    HAL_I2C_Mem_Write(handle,
                      LSM6DSO_I2C_ADDR,
                      reg,
                      I2C_MEMADD_SIZE_8BIT,
                      (uint8_t *)bufp,
                      len,
                      HAL_MAX_DELAY);
    return 0;
}

int32_t platform_read(void *handle, uint8_t reg, uint8_t *bufp, uint16_t len)
{
    HAL_I2C_Mem_Read(handle,
                     LSM6DSO_I2C_ADDR,
                     reg,
                     I2C_MEMADD_SIZE_8BIT,
                     bufp,
                     len,
                     HAL_MAX_DELAY);
    return 0;
}

void platform_delay(uint32_t ms)
{
    HAL_Delay(ms);
}
/* USER CODE END 4 */

void Error_Handler(void)
{
  __disable_irq();
  while (1)
  {
  }
}
